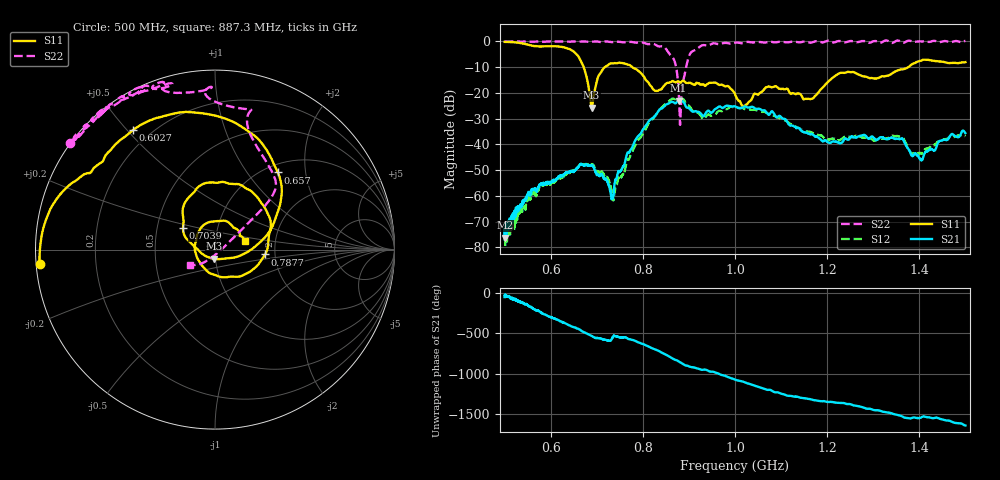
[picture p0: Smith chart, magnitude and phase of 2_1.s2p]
!Agilent Technologies,E8364B,US42250235,A.06.04.32
!Agilent E8364B: A.06.04.32
!Date: Thursday, October 01, 2020 15:52:48
!Correction: S11(Full 2 Port(1,2)) S21(Full 2 Port(1,2)) S12(Full 2 Port(1,2)) S22(Full 2 Port(1,2))
!S2P File: Measurements: S11, S21, S12, S22:
# Hz S  dB  R 50
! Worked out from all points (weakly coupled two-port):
!   2650 points, 500 MHz to 1.5 GHz, reference 50 ohm
!   highest |S21| = -23.08 dB at 877.5 MHz (marker M1); lowest = -76.2 dB at 500.4 MHz (marker M2)
!   lowest |S11| = -25.7 dB at 688.8 MHz (marker M3), VSWR 1.11, Z = 49.1 - j5.05 ohm
!   |S11| at or under -10 dB: 671.6 MHz to 717.3 MHz (45.68 MHz wide, 6.58 % of centre); 776.8 MHz to 1.376 GHz (599.4 MHz wide, 55.7 % of centre)
!   |S22| runs from -32.4 to 0.4 dB; largest |S21 - S12| = 0.032
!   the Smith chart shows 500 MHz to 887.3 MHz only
!   S11 on the Smith chart (normalised r, x): 500 MHz: 0.01, -0.04; 602.7 MHz: 0.14, +0.52; 657 MHz: 1.14, +1.42; 703.9 MHz: 0.68, +0.17; 787.7 MHz: 1.77, -0.10; 887.3 MHz: 1.39, +0.14
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5e8  -0.17 -175.3  -72.87 -50.7  -77.48 -39.3  0.04 143.6
5.003775e8  -0.17 -175.6  -76.21 -21.3  -74.22 -31.1  0.04 143.8
5.562476e8  -1.47 150.4  -59.09 -173.1  -60.21 -159.1  -0.09 137.1
6.026803e8  -1.86 124.5  -54.33 54.4  -54.90 63.5  -0.04 131.5
6.570404e8  -5.12 50.8  -49.37 -76.0  -49.16 -71.3  -0.08 128.6
6.668554e8  -8.08 29.4  -47.58 -109.9  -47.63 -103.3  -0.04 125.3
6.887505e8  -25.74 -96.9  -48.15 -170.0  -47.87 -162.3  -0.14 121.7
7.038505e8  -13.35 146.0  -51.80 160.7  -50.57 162.5  -0.13 122.4
7.370706e8  -8.51 86.3  -57.93 -170.3  -61.20 161.4  -0.20 112.5
7.876557e8  -11.04 -5.6  -37.28 115.1  -38.88 134.8  -0.48 105.7
8.337108e8  -19.01 -178.5  -27.08 4.6  -27.13 29.4  -1.89 85.2
8.669309e8  -15.56 59.3  -23.67 -99.6  -22.23 -77.3  -6.86 43.9
8.775009e8  -15.53 36.0  -23.08 -127.8  -21.86 -110.2  -18.45 32.2
8.87316e8  -15.26 15.9  -23.47 -160.1  -22.40 -143.5  -15.72 -149.2
9.073235e8  -16.51 -25.3  -27.23 160.3  -26.85 169.2  -3.84 167.8
1.000189e9  -20.51 128.6  -25.24 7.0  -25.64 30.0  -0.51 124.5
1.166667e9  -22.21 43.1  -35.92 120.1  -35.36 125.7  -0.43 103.0
1.228199e9  -12.26 -91.8  -39.56 76.6  -38.29 76.9  0.14 99.6
1.321442e9  -13.56 -149.7  -37.47 -31.3  -37.71 -31.1  -0.05 82.0
1.333522e9  -13.18 -148.0  -37.80 -40.8  -37.38 -42.0  0.07 98.7
1.403737e9  -7.45 -177.2  -46.15 -103.8  -43.42 -110.6  0.02 81.1
1.5e9  -8.04 143.1  -35.64 158.7  -36.90 143.4  0.24 71.1
